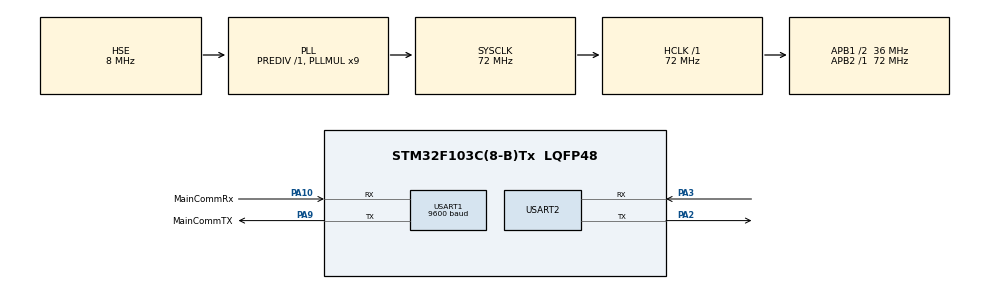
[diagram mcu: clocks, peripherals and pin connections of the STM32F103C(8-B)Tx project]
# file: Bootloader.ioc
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Mcu.Family=STM32F1
Mcu.Name=STM32F103C(8-B)Tx
Mcu.Package=LQFP48
NVIC.PriorityGroup=NVIC_PRIORITYGROUP_4
PA10.GPIO_Label=MainCommRx
PA10.Mode=Asynchronous
PA10.Signal=USART1_RX
PA13.Mode=Serial_Wire
PA13.Signal=SYS_JTMS-SWDIO
PA14.Mode=Serial_Wire
PA14.Signal=SYS_JTCK-SWCLK
PA2.Mode=Asynchronous
PA2.Signal=USART2_TX
PA3.Mode=Asynchronous
PA3.Signal=USART2_RX
PA9.GPIO_Label=MainCommTX
PA9.Mode=Asynchronous
PA9.Signal=USART1_TX
PD0-OSC_IN.Mode=HSE-External-Oscillator
PD0-OSC_IN.Signal=RCC_OSC_IN
PD1-OSC_OUT.Mode=HSE-External-Oscillator
PD1-OSC_OUT.Signal=RCC_OSC_OUT
ProjectManager.HeapSize=0x200
ProjectManager.StackSize=0x400
ProjectManager.TargetToolchain=MDK-ARM V5
RCC.AHBFreq_Value=72000000
RCC.APB1CLKDivider=RCC_HCLK_DIV2
RCC.APB1Freq_Value=36000000
RCC.APB1TimFreq_Value=72000000
RCC.APB2Freq_Value=72000000
RCC.APB2TimFreq_Value=72000000
RCC.HCLKFreq_Value=72000000
RCC.HSIState=RCC_HSI_ON
RCC.PLLMUL=RCC_PLL_MUL9
RCC.PLLSourceVirtual=RCC_PLLSOURCE_HSE
RCC.SYSCLKFreq_VALUE=72000000
RCC.SYSCLKSource=RCC_SYSCLKSOURCE_PLLCLK
RCC.USBFreq_Value=72000000
USART1.BaudRate=9600
VP_IWDG_VS_IWDG.Mode=IWDG_Activate
board=Bootloader

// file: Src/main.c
/**
  ******************************************************************************
  * File Name          : main.c
  * Description        : Main program body
  ******************************************************************************
  *
  * COPYRIGHT(c) 2018 STMicroelectronics
  *
  * Redistribution and use in source and binary forms, with or without modification,
  * are permitted provided that the following conditions are met:
  *   1. Redistributions of source code must retain the above copyright notice,
  *      this list of conditions and the following disclaimer.
  *   2. Redistributions in binary form must reproduce the above copyright notice,
  *      this list of conditions and the following disclaimer in the documentation
  *      and/or other materials provided with the distribution.
  *   3. Neither the name of STMicroelectronics nor the names of its contributors
  *      may be used to endorse or promote products derived from this software
  *      without specific prior written permission.
  *
  * THIS SOFTWARE IS PROVIDED BY THE COPYRIGHT HOLDERS AND CONTRIBUTORS "AS IS"
  * AND ANY EXPRESS OR IMPLIED WARRANTIES, INCLUDING, BUT NOT LIMITED TO, THE
  * IMPLIED WARRANTIES OF MERCHANTABILITY AND FITNESS FOR A PARTICULAR PURPOSE ARE
  * DISCLAIMED. IN NO EVENT SHALL THE COPYRIGHT HOLDER OR CONTRIBUTORS BE LIABLE
  * FOR ANY DIRECT, INDIRECT, INCIDENTAL, SPECIAL, EXEMPLARY, OR CONSEQUENTIAL
  * DAMAGES (INCLUDING, BUT NOT LIMITED TO, PROCUREMENT OF SUBSTITUTE GOODS OR
  * SERVICES; LOSS OF USE, DATA, OR PROFITS; OR BUSINESS INTERRUPTION) HOWEVER
  * CAUSED AND ON ANY THEORY OF LIABILITY, WHETHER IN CONTRACT, STRICT LIABILITY,
  * OR TORT (INCLUDING NEGLIGENCE OR OTHERWISE) ARISING IN ANY WAY OUT OF THE USE
  * OF THIS SOFTWARE, EVEN IF ADVISED OF THE POSSIBILITY OF SUCH DAMAGE.
  *
  ******************************************************************************
  */
#include "main.h"
#include "stm32f1xx_hal.h"
#include "iwdg.h"
#include "usart.h"
#include "gpio.h"

/* USER CODE BEGIN Includes */
#include "constant_config.h"
#include "amc_lib.h"
#include "bl_command.h"
#include "assert.h"
/* USER CODE END Includes */

/* USER CODE BEGIN PV */
/* Private variables ---------------------------------------------------------*/

/* USER CODE END PV */

void SystemClock_Config(void);
void Error_Handler(void);

/* USER CODE BEGIN PFP */
/* Private function prototypes -----------------------------------------------*/

/* USER CODE END PFP */

/* USER CODE BEGIN 0 */
//#define BL
extern uint8_t JumpToApplication(uint32_t Addr);
/* USER CODE END 0 */

int main(void)
{

  /* USER CODE BEGIN 1 */

		uint8_t i;
		uint8_t gChar;
	Cmd const * cmd;
#ifndef BL
		SCB->VTOR = 0x08000000 | (0x00004000 & (uint32_t)0x1FFFFF80);
#endif
  /* USER CODE END 1 */

  /* MCU Configuration----------------------------------------------------------*/

  /* Reset of all peripherals, Initializes the Flash interface and the Systick. */
  HAL_Init();
  /* Configure the system clock */
  SystemClock_Config();

  /* Initialize all configured peripherals */
  MX_GPIO_Init();
  MX_USART1_UART_Init();
//  MX_IWDG_Init();
  MX_USART2_UART_Init();

  /* USER CODE BEGIN 2 */
	gChar = '\0';
//	APP_IWDG_Start();

//	#ifdef BL
	DebugComm_SendString("\033[2J");
	DebugComm_SendString("\033[2J");
	DebugComm_SendString("\033[1;40;32m");
	iprintf("\033[%d;%dH", 1, 1);
	DebugComm_SendString("bootloader start...\r\n");
//	#else
//	DebugComm_SendString("app start...\r\n");
//	#endif
//	MainComm_SendString("\r\n->");
  /* USER CODE END 2 */

  /* Infinite loop */
  while (1)
  {

  /* USER CODE BEGIN 3 */
//		APP_IWDG_Refresh();
		iprintf("Press any key to interrupt autoboot:  %d",5);
		for(i = 5; i > 0; --i)
		{
			if(DebugComm_GetChar(&gChar, 1000) == HAL_TIMEOUT){
				iprintf("\033[%dD", 1);
				iprintf("%d", i-1);
			}
			else {
				break;
			}
		}
		DebugComm_SendString("\r\n");
		//支持的命令列表输出
		if(i != 0)
		{
			while(1) {
				commandAllDisplay();
				DebugComm_SendString("Select command code: ");
				while(DebugComm_GetChar(&gChar, HAL_MAX_DELAY) == HAL_OK)
				{
					DebugComm_PutChar(&gChar, 0);
					assert(COMMAND_MAX < 10);
					if(gChar >= '0' && gChar < '0' + COMMAND_MAX - 1)
					{
						DebugComm_SendString("\r\n");
						cmd = commandGet(gChar - '0');
						commandRun(cmd);
						break;
					}
					else {
						DebugComm_SendString("\r\nError!!! invalid input\r\n");
						DebugComm_SendString("Select command code: ");
					}
					MainComm_SendString("Input Timeout\r\n");
					MainComm_SendString("System will reboot...\r\n");
					cmd = commandGet(REBOOT);
					commandRun(cmd);
				}
//				JumpToApplication(0x08004000);
			}
		}
		DebugComm_SendString("App will start...\r\n");
		cmd = commandGet(RUN_APP);
		commandRun(cmd);
  }
  /* USER CODE END 3 */

}

/** System Clock Configuration
*/
void SystemClock_Config(void)
{

  RCC_OscInitTypeDef RCC_OscInitStruct;
  RCC_ClkInitTypeDef RCC_ClkInitStruct;

    /**Initializes the CPU, AHB and APB busses clocks
    */
  RCC_OscInitStruct.OscillatorType = RCC_OSCILLATORTYPE_LSI|RCC_OSCILLATORTYPE_HSE;
  RCC_OscInitStruct.HSEState = RCC_HSE_ON;
  RCC_OscInitStruct.HSEPredivValue = RCC_HSE_PREDIV_DIV1;
  RCC_OscInitStruct.HSIState = RCC_HSI_ON;
  RCC_OscInitStruct.LSIState = RCC_LSI_ON;
  RCC_OscInitStruct.PLL.PLLState = RCC_PLL_ON;
  RCC_OscInitStruct.PLL.PLLSource = RCC_PLLSOURCE_HSE;
  RCC_OscInitStruct.PLL.PLLMUL = RCC_PLL_MUL9;
  if (HAL_RCC_OscConfig(&RCC_OscInitStruct) != HAL_OK)
  {
    Error_Handler();
  }

    /**Initializes the CPU, AHB and APB busses clocks
    */
  RCC_ClkInitStruct.ClockType = RCC_CLOCKTYPE_HCLK|RCC_CLOCKTYPE_SYSCLK
                              |RCC_CLOCKTYPE_PCLK1|RCC_CLOCKTYPE_PCLK2;
  RCC_ClkInitStruct.SYSCLKSource = RCC_SYSCLKSOURCE_PLLCLK;
  RCC_ClkInitStruct.AHBCLKDivider = RCC_SYSCLK_DIV1;
  RCC_ClkInitStruct.APB1CLKDivider = RCC_HCLK_DIV2;
  RCC_ClkInitStruct.APB2CLKDivider = RCC_HCLK_DIV1;

  if (HAL_RCC_ClockConfig(&RCC_ClkInitStruct, FLASH_LATENCY_2) != HAL_OK)
  {
    Error_Handler();
  }

    /**Configure the Systick interrupt time
    */
  HAL_SYSTICK_Config(HAL_RCC_GetHCLKFreq()/1000);

    /**Configure the Systick
    */
  HAL_SYSTICK_CLKSourceConfig(SYSTICK_CLKSOURCE_HCLK);

  /* SysTick_IRQn interrupt configuration */
  HAL_NVIC_SetPriority(SysTick_IRQn, 0, 0);
}

void Error_Handler(void)
{
  while(1)
  {
  }
}

/************************ (C) COPYRIGHT STMicroelectronics *****END OF FILE****/
